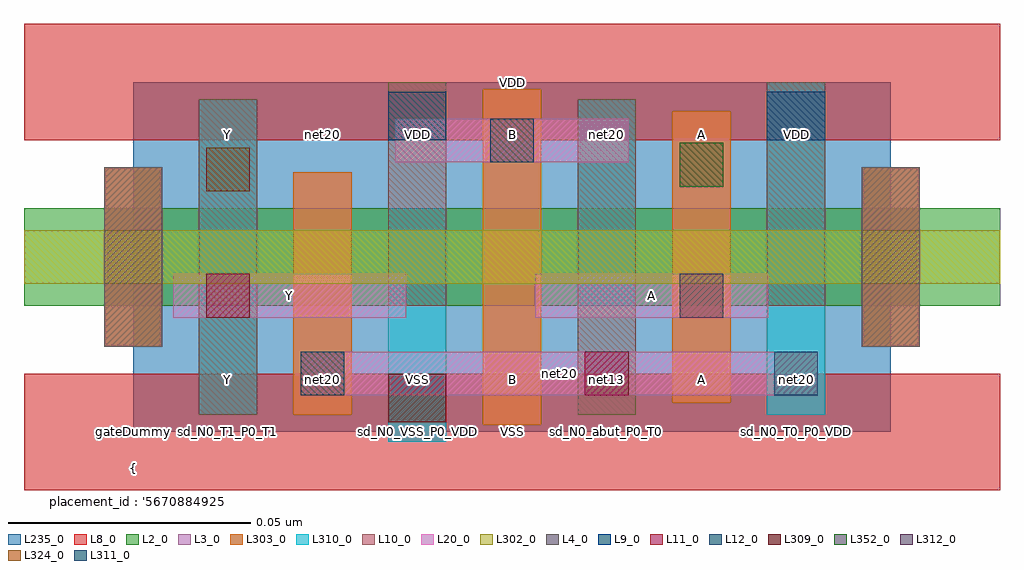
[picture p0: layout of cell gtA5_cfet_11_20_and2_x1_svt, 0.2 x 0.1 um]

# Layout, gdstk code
import gdstk
lib = gdstk.Library(unit=1e-6, precision=2.5e-10)
def R(c, l, rs):  # rectangles x0, y0, x1, y1
    for r in rs: c.add(gdstk.rectangle(r[:2], r[2:], *l))
L2_0 = (2, 0)
L3_0 = (3, 0)
L4_0 = (4, 0)
L8_0 = (8, 0)
L9_0 = (9, 0)
L10_0 = (10, 0)
L11_0 = (11, 0)
L12_0 = (12, 0)
L20_0 = (20, 0)
L235_0 = (235, 0)
L302_0 = (302, 0)
L303_0 = (303, 0)
L309_0 = (309, 0)
L310_0 = (310, 0)
L311_0 = (311, 0)
L312_0 = (312, 0)
L324_0 = (324, 0)
L352_0 = (352, 0)

gta5_cfet_11_20_and2_x1_ = lib.new_cell('gtA5_cfet_11_20_and2_x1_svt')
R(gta5_cfet_11_20_and2_x1_, L2_0, [(-0.0225,0.026,0.1785,0.046)])
R(gta5_cfet_11_20_and2_x1_, L3_0, [(0.072,0.0015,0.084,0.0705), (0.033,0.0035,0.045,0.0535), (0.111,0.006,0.123,0.066), (-0.006,0.0175,0.006,0.0545), (0.15,0.0175,0.162,0.0545)])
R(gta5_cfet_11_20_and2_x1_, L4_0, [(-0.006,0.0175,0.006,0.0545), (0.15,0.0175,0.162,0.0545)])
R(gta5_cfet_11_20_and2_x1_, L8_0, [(-0.0225,-0.012,0.1785,0.012), (-0.0225,0.06,0.1785,0.084)])
R(gta5_cfet_11_20_and2_x1_, L9_0, [(0.0525,0.06,0.0645,0.07), (0.1305,0.06,0.1425,0.07)])
R(gta5_cfet_11_20_and2_x1_, L10_0, [(0.0135,0.0035,0.0255,0.0685), (0.0915,0.0035,0.1035,0.0685), (0.0525,0.026,0.0645,0.072), (0.1305,0.026,0.1425,0.072)])
R(gta5_cfet_11_20_and2_x1_, L11_0, [(0.093,0.0075,0.102,0.0165), (0.015,0.0235,0.024,0.0325)])
R(gta5_cfet_11_20_and2_x1_, L12_0, [(0.0345,0.0075,0.0435,0.0165), (0.0735,0.0555,0.0825,0.0645)])
R(gta5_cfet_11_20_and2_x1_, L20_0, [(0.0345,0.0075,0.141,0.0165), (0.0083,0.0235,0.0563,0.0325), (0.0828,0.0235,0.1308,0.0325), (0.054,0.0555,0.102,0.0645)])
R(gta5_cfet_11_20_and2_x1_, L235_0, [(0,0,0.156,0.072)])
R(gta5_cfet_11_20_and2_x1_, L302_0, [(-0.0225,0.0305,0.1785,0.0415)])
R(gta5_cfet_11_20_and2_x1_, L303_0, [(0.072,0.0015,0.084,0.0705), (0.033,0.0035,0.045,0.0535), (0.111,0.006,0.123,0.066), (-0.006,0.0175,0.006,0.0545), (0.15,0.0175,0.162,0.0545)])
R(gta5_cfet_11_20_and2_x1_, L309_0, [(0.0525,0.002,0.0645,0.012)])
R(gta5_cfet_11_20_and2_x1_, L310_0, [(0.0525,-0.002,0.0645,0.046), (0.0135,0.0035,0.0255,0.0685), (0.1305,0.0035,0.1425,0.072), (0.0915,0.026,0.1035,0.0685)])
R(gta5_cfet_11_20_and2_x1_, L311_0, [(0.132,0.0075,0.141,0.0165)])
R(gta5_cfet_11_20_and2_x1_, L312_0, [(0.1125,0.0235,0.1215,0.0325)])
R(gta5_cfet_11_20_and2_x1_, L324_0, [(0.015,0.0495,0.024,0.0585)])
R(gta5_cfet_11_20_and2_x1_, L352_0, [(0.1125,0.0505,0.1215,0.0595)])
gta5_cfet_11_20_and2_x1_.add(gdstk.Label('net20', (0.0878,0.012), layer=100, texttype=100))
gta5_cfet_11_20_and2_x1_.add(gdstk.Label('gateDummy', (0,0), layer=103, texttype=103))
gta5_cfet_11_20_and2_x1_.add(gdstk.Label('sd_N0_T1_P0_T1', (0.0195,0), layer=103, texttype=103))
gta5_cfet_11_20_and2_x1_.add(gdstk.Label('gate_N0_T0_P0_T0', (0.039,0), layer=103, texttype=103))
gta5_cfet_11_20_and2_x1_.add(gdstk.Label('sd_N0_VSS_P0_VDD', (0.0585,0), layer=103, texttype=103))
gta5_cfet_11_20_and2_x1_.add(gdstk.Label('gate_N0_T3_P0_T3', (0.078,0), layer=103, texttype=103))
gta5_cfet_11_20_and2_x1_.add(gdstk.Label('sd_N0_abut_P0_T0', (0.0975,0), layer=103, texttype=103))
gta5_cfet_11_20_and2_x1_.add(gdstk.Label('gate_N0_T1_P0_T1', (0.117,0), layer=103, texttype=103))
gta5_cfet_11_20_and2_x1_.add(gdstk.Label('sd_N0_T0_P0_VDD', (0.1365,0), layer=103, texttype=103))
gta5_cfet_11_20_and2_x1_.add(gdstk.Label('gateDummy', (0.156,0), layer=103, texttype=103))
gta5_cfet_11_20_and2_x1_.add(gdstk.Label('}', (0,-0.0785), layer=104, texttype=104))
gta5_cfet_11_20_and2_x1_.add(gdstk.Label('  power : None', (0,-0.0713), layer=104, texttype=104))
gta5_cfet_11_20_and2_x1_.add(gdstk.Label('  performance : None', (0,-0.0643), layer=104, texttype=104))
gta5_cfet_11_20_and2_x1_.add(gdstk.Label("  solution_hash : '11998226911517678990'", (0,-0.057), layer=104, texttype=104))
gta5_cfet_11_20_and2_x1_.add(gdstk.Label('  number_m2 : 0', (0,-0.05), layer=104, texttype=104))
gta5_cfet_11_20_and2_x1_.add(gdstk.Label('  number_m1 : 0', (0,-0.0428), layer=104, texttype=104))
gta5_cfet_11_20_and2_x1_.add(gdstk.Label('  number_m0cuts : 0', (0,-0.0358), layer=104, texttype=104))
gta5_cfet_11_20_and2_x1_.add(gdstk.Label('  number_m0 : 4', (0,-0.0285), layer=104, texttype=104))
gta5_cfet_11_20_and2_x1_.add(gdstk.Label("  solution_number : '0000'", (0,-0.0215), layer=104, texttype=104))
gta5_cfet_11_20_and2_x1_.add(gdstk.Label("  placement_id : '5670884925690252422'", (0,-0.0143), layer=104, texttype=104))
gta5_cfet_11_20_and2_x1_.add(gdstk.Label('{', (0,-0.0073), layer=104, texttype=104))
gta5_cfet_11_20_and2_x1_.add(gdstk.Label('Y', (0.0195,0.0108), layer=105, texttype=105))
gta5_cfet_11_20_and2_x1_.add(gdstk.Label('net20', (0.039,0.0108), layer=105, texttype=105))
gta5_cfet_11_20_and2_x1_.add(gdstk.Label('VSS', (0.0585,0.0108), layer=105, texttype=105))
gta5_cfet_11_20_and2_x1_.add(gdstk.Label('B', (0.078,0.0108), layer=105, texttype=105))
gta5_cfet_11_20_and2_x1_.add(gdstk.Label('net13', (0.0975,0.0108), layer=105, texttype=105))
gta5_cfet_11_20_and2_x1_.add(gdstk.Label('A', (0.117,0.0108), layer=105, texttype=105))
gta5_cfet_11_20_and2_x1_.add(gdstk.Label('net20', (0.1365,0.0108), layer=105, texttype=105))
gta5_cfet_11_20_and2_x1_.add(gdstk.Label('Y', (0.0195,0.0612), layer=105, texttype=105))
gta5_cfet_11_20_and2_x1_.add(gdstk.Label('net20', (0.039,0.0612), layer=105, texttype=105))
gta5_cfet_11_20_and2_x1_.add(gdstk.Label('VDD', (0.0585,0.0612), layer=105, texttype=105))
gta5_cfet_11_20_and2_x1_.add(gdstk.Label('B', (0.078,0.0612), layer=105, texttype=105))
gta5_cfet_11_20_and2_x1_.add(gdstk.Label('net20', (0.0975,0.0612), layer=105, texttype=105))
gta5_cfet_11_20_and2_x1_.add(gdstk.Label('A', (0.117,0.0612), layer=105, texttype=105))
gta5_cfet_11_20_and2_x1_.add(gdstk.Label('VDD', (0.1365,0.0612), layer=105, texttype=105))
gta5_cfet_11_20_and2_x1_.add(gdstk.Label('VSS', (0.078,0), layer=8, texttype=0))
gta5_cfet_11_20_and2_x1_.add(gdstk.Label('VDD', (0.078,0.072), layer=8, texttype=0))
gta5_cfet_11_20_and2_x1_.add(gdstk.Label('Y', (0.0323,0.028), layer=20, texttype=251))
gta5_cfet_11_20_and2_x1_.add(gdstk.Label('A', (0.1067,0.028), layer=20, texttype=251))
gta5_cfet_11_20_and2_x1_.add(gdstk.Label('B', (0.078,0.06), layer=20, texttype=251))
gta5_cfet_11_20_and2_x1_.add(gdstk.Label('gtA5_cfet_11_20_and2_x1_rvt_0', (0,0), layer=235, texttype=0))

lib.write_gds('gtA5_cfet_11_20_and2_x1_svt.gds')
